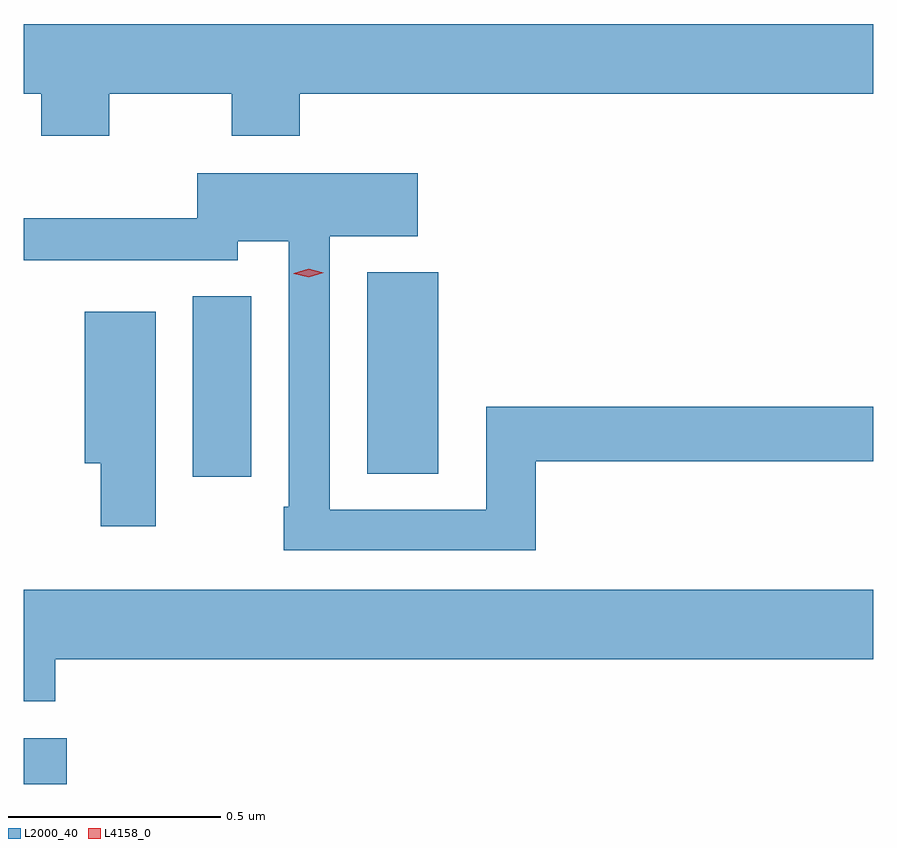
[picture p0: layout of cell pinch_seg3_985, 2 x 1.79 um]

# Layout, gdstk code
import gdstk
lib = gdstk.Library(unit=1e-6, precision=1e-09)
def R(c, l, rs):  # rectangles x0, y0, x1, y1
    for r in rs: c.add(gdstk.rectangle(r[:2], r[2:], *l))
def P(c, l, *ps):  # polygons
    for p in ps: c.add(gdstk.Polygon(p, *l))
L2000_40 = (2000, 40)
L4158_0 = (4158, 0)

pinch_seg3_985 = lib.new_cell('pinch_seg3_985')
R(pinch_seg3_985, L2000_40, [(414.036,724.598,414.137,724.706), (414.434,725.322,414.571,725.747), (414.845,725.329,415.012,725.803)])
P(pinch_seg3_985, L2000_40, [(414.237,726.224),(414.526,726.224),(414.526,726.125),(414.686,726.125),(414.686,726.224),(416.036,726.224),(416.036,726.388),(414.036,726.388),(414.036,726.224),(414.077,726.224),(414.077,726.125),(414.237,726.125)],
  [(415.241,725.358),(416.036,725.358),(416.036,725.486),(415.125,725.486),(415.125,725.244),(414.756,725.244),(414.756,725.888),(414.964,725.888),(414.964,726.037),(414.444,726.037),(414.444,725.93),(414.036,725.93),(414.036,725.832),(414.54,725.832),(414.54,725.876),(414.66,725.876),(414.66,725.251),(414.648,725.251),(414.648,725.148),(415.241,725.148)],
  [(414.346,725.71),(414.179,725.71),(414.179,725.354),(414.217,725.354),(414.217,725.205),(414.346,725.205)],
  [(414.11,724.892),(416.036,724.892),(416.036,725.056),(414.036,725.056),(414.036,724.793),(414.11,724.793)])
P(pinch_seg3_985, L4158_0, [(414.707,725.791),(414.672,725.8),(414.672,725.801),(414.672,725.801),(414.707,725.811),(414.742,725.802),(414.742,725.802),(414.742,725.802)])

lib.write_gds('pinch_seg3_985.gds')
